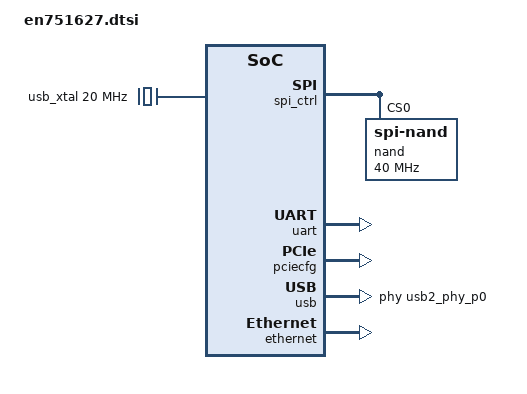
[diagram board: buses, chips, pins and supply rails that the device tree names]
// SPDX-License-Identifier: (GPL-2.0-only OR BSD-2-Clause)
/dts-v1/;

#include <dt-bindings/interrupt-controller/mips-gic.h>
#include <dt-bindings/clock/en7523-clk.h>
#include <dt-bindings/reset/airoha,en7523-reset.h>

/ {
	compatible = "econet,en751627";
	#address-cells = <1>;
	#size-cells = <1>;

	hpt_clock: clock {
		compatible = "fixed-clock";
		#clock-cells = <0>;
		clock-frequency = <200000000>;  /* 200 MHz */
	};

	spi_clock: spi-clock {
		compatible = "fixed-clock";
		#clock-cells = <0>;
		clock-frequency = <40000000>;  /* 40 MHz */
	};

	/*
	 * USB PHY reference crystal. EcoNet devices run at either 20MHz or
	 * 25MHz (per econet,en751221-usb-phy binding); this board's actual
	 * xtal frequency has not been confirmed against real hardware, and
	 * 20MHz is assumed as the more common default. A wrong guess only
	 * affects the USB 3.0 PLL tuning path, not USB 2.0.
	 */
	usb_xtal: usb-xtal-clock {
		compatible = "fixed-clock";
		#clock-cells = <0>;
		clock-frequency = <20000000>;  /* 20 MHz, unconfirmed */
	};

	cpus {
		#address-cells = <1>;
		#size-cells = <0>;

		cpu@0 {
			device_type = "cpu";
			compatible = "mips,mips1004Kc";
			reg = <0>;
		};

		cpu@1 {
			device_type = "cpu";
			compatible = "mips,mips1004Kc";
			reg = <1>;
		};
	};

	cpuintc: interrupt-controller {
		compatible = "mti,cpu-interrupt-controller";
		interrupt-controller;
		#address-cells = <0>;
		#interrupt-cells = <1>;
	};

	gic: interrupt-controller@1f8c0000 {
		compatible = "mti,gic";
		reg = <0x1f8c0000 0x20000>;

		interrupt-controller;
		#interrupt-cells = <3>;

		interrupt-parent = <&cpuintc>;
		interrupts = <2>;
	};

	pcie_phy0: pcie-phy@1faf2000 {
		compatible = "econet,en7528-pcie-gen2";
		reg = <0x1faf2000 0x1000>;
		#phy-cells = <0>;
	};

	pcie_phy1: pcie-phy@1fac0000 {
		compatible = "econet,en7528-pcie-gen2";
		reg = <0x1fac0000 0x1000>;
		#phy-cells = <0>;
	};

	gpio0: gpio@1fbf0200 {
		compatible = "airoha,en7523-gpio";
		reg = <0x1fbf0204 0x4>,
		      <0x1fbf0200 0x4>,
		      <0x1fbf0220 0x4>,
		      <0x1fbf0214 0x4>;
		gpio-controller;
		#gpio-cells = <2>;
	};

	gpio1: gpio@1fbf0270 {
		compatible = "airoha,en7523-gpio";
		reg = <0x1fbf0270 0x4>,
		      <0x1fbf0260 0x4>,
		      <0x1fbf0264 0x4>,
		      <0x1fbf0278 0x4>;
		gpio-controller;
		#gpio-cells = <2>;
	};

	scu: system-controller@1fb00000 {
		compatible = "airoha,en7523-scu";
		reg = <0x1fa20000 0x400>,
		      <0x1fb00000 0x1000>;
		#clock-cells = <1>;
		#reset-cells = <1>;
	};

	timer_hpt: timer@1fbf0400 {
		compatible = "econet,en7528-timer";
		reg = <0x1fbf0400 0x14>,
		      <0x1fbe0000 0x14>;

		interrupt-parent = <&gic>;
		interrupts = <GIC_SHARED 30 IRQ_TYPE_LEVEL_HIGH>,
			     <GIC_SHARED 29 IRQ_TYPE_LEVEL_HIGH>,
			     <GIC_SHARED 37 IRQ_TYPE_LEVEL_HIGH>,
			     <GIC_SHARED 36 IRQ_TYPE_LEVEL_HIGH>;

		clocks = <&hpt_clock>;
	};

	spi_ctrl: spi@1fa10000 {
		compatible = "airoha,en7581-snand";
		reg = <0x1fa10000 0x140>,
		      <0x1fa11000 0x160>;

		clocks = <&spi_clock>;
		clock-names = "spi";

		#address-cells = <1>;
		#size-cells = <0>;

		nand: nand@0 {
			compatible = "spi-nand";
			reg = <0>;
			spi-max-frequency = <40000000>;
			spi-tx-bus-width = <1>;
			spi-rx-bus-width = <2>;
		};
	};

	uart: serial@1fbf0000 {
		compatible = "airoha,en7523-uart";
		reg = <0x1fbf0000 0x30>;
		reg-io-width = <4>;
		reg-shift = <2>;

		interrupt-parent = <&gic>;
		interrupts = <GIC_SHARED 2 IRQ_TYPE_LEVEL_HIGH>;

		clock-frequency = <7372800>;
	};

	pciecfg: pciecfg@1fb80000 {
		compatible = "mediatek,generic-pciecfg", "syscon";
		reg = <0x1fb80000 0x1000>;
	};

	pcie0: pcie@1fb81000 {
		compatible = "econet,en7528-pcie";
		device_type = "pci";
		reg = <0x1fb81000 0x1000>;
		reg-names = "port0";
		linux,pci-domain = <0>;
		#address-cells = <3>;
		#size-cells = <2>;
		interrupt-parent = <&gic>;
		interrupts = <GIC_SHARED 23 IRQ_TYPE_LEVEL_HIGH>;
		interrupt-names = "pcie_irq";
		clocks = <&scu EN7523_CLK_PCIE>;
		clock-names = "sys_ck0";
		phys = <&pcie_phy0>;
		phy-names = "pcie-phy0";
		bus-range = <0x00 0xff>;
		ranges = <0x01000000 0 0x00000000 0x1f600000 0 0x00010000>,
			 <0x82000000 0 0x20000000 0x20000000 0 0x08000000>;
		status = "disabled";

		#interrupt-cells = <1>;
		interrupt-map-mask = <0 0 0 7>;
		interrupt-map = <0 0 0 1 &pcie_intc0 0>,
				<0 0 0 2 &pcie_intc0 1>,
				<0 0 0 3 &pcie_intc0 2>,
				<0 0 0 4 &pcie_intc0 3>;

		pcie_intc0: interrupt-controller {
			interrupt-controller;
			#address-cells = <0>;
			#interrupt-cells = <1>;
		};

		slot0: pcie@0,0 {
			reg = <0x0000 0 0 0 0>;
			#address-cells = <3>;
			#size-cells = <2>;
			ranges;
		};
	};

	pcie1: pcie@1fb83000 {
		compatible = "econet,en7528-pcie";
		device_type = "pci";
		reg = <0x1fb83000 0x1000>;
		reg-names = "port1";
		linux,pci-domain = <1>;
		#address-cells = <3>;
		#size-cells = <2>;
		interrupt-parent = <&gic>;
		interrupts = <GIC_SHARED 24 IRQ_TYPE_LEVEL_HIGH>;
		interrupt-names = "pcie_irq";
		clocks = <&scu EN7523_CLK_PCIE>;
		clock-names = "sys_ck1";
		phys = <&pcie_phy1>;
		phy-names = "pcie-phy1";
		bus-range = <0x00 0xff>;
		ranges = <0x01000000 0 0x00000000 0x1f610000 0 0x00010000>,
			 <0x82000000 0 0x28000000 0x28000000 0 0x08000000>;
		status = "disabled";

		#interrupt-cells = <1>;
		interrupt-map-mask = <0 0 0 7>;
		interrupt-map = <0 0 0 1 &pcie_intc1 0>,
				<0 0 0 2 &pcie_intc1 1>,
				<0 0 0 3 &pcie_intc1 2>,
				<0 0 0 4 &pcie_intc1 3>;

		pcie_intc1: interrupt-controller {
			interrupt-controller;
			#address-cells = <0>;
			#interrupt-cells = <1>;
		};

		slot1: pcie@1,0 {
			reg = <0x0800 0 0 0 0>;
			#address-cells = <3>;
			#size-cells = <2>;
			ranges;
		};
	};

	/*
	 * USB PHY (SIFSLV SPLLC/FMREG @0x1fa80000, single-port QFP wiring:
	 * U2PHY_COM @0x1fa80800, U3PHYD/A @0x1fa80900). Based on upstream
	 * "phy: econet: Add EcoNet USB PHY" (Caleb James DeLisle,
	 * cjd@cjdns.fr, msgid 20260518141343.401555-3-cjd@cjdns.fr),
	 * not yet merged upstream at the time this was written.
	 */
	usb_phy: usb-phy@1fa80000 {
		compatible = "econet,en751627-usb-phy";
		reg = <0x1fa80000 0x700>;
		#address-cells = <1>;
		#size-cells = <1>;
		ranges;
		clocks = <&usb_xtal>;
		clock-names = "xtal";

		usb2_phy_p0: usb-phy@1fa80800 {
			compatible = "econet,usb2-phy";
			reg = <0x1fa80800 0x100>;
			resets = <&scu EN7523_USB_HOST_P0_RST>;
			econet,usb-port-id = <0>;
			#phy-cells = <0>;
		};

		usb3_phy_p0: usb-phy@1fa80900 {
			compatible = "econet,usb3-phy";
			reg = <0x1fa80900 0x700>;
			resets = <&scu EN7523_USB_HOST_P0_RST>;
			econet,usb-port-id = <0>;
			#phy-cells = <0>;
		};
	};

	usb: usb@1fb90000 {
		compatible = "mediatek,mt8173-xhci", "mediatek,mtk-xhci";
		reg = <0x1fb90000 0x4000>,
			<0x1fa80700 0x100>;
		reg-names = "mac", "ippc";

		#address-cells = <1>;
		#size-cells = <0>;

		interrupt-parent = <&gic>;
		interrupts = <GIC_SHARED 17 IRQ_TYPE_LEVEL_HIGH>;
		phys = <&usb2_phy_p0>, <&usb3_phy_p0>;
		usb3-lpm-capable;
		/*
		 * The SuperSpeed (U3) MAC reset-inactive status bit never
		 * comes up on this board (STS1_U3_MAC_RST stuck low while
		 * every USB 2.0 clock bit is stable), consistent with only
		 * a USB 2.0 port being physically wired. Mask off U3 port 0
		 * so xhci-mtk's clock-stable poll doesn't wait on it.
		 */
		mediatek,u3p-dis-msk = <0x1>;
	};

	/*
	 * FE/GDM/QDMA block (econet-eth out-of-tree driver, cjdelisle/econet_eth,
	 * package/kernel/econet-eth patches/001-add-en751627-support.patch).
	 * reg is sized 0x8000 (en7528-style): the driver derives has_switch_regs
	 * from resource_size(reg) >= sizeof(struct en751221_regs) (0x10000), so
	 * this automatically skips its own PMCR/MFC switch pokes -- the switch
	 * register space now belongs to the separate DSA `switch` node below.
	 *
	 * gmac0 feeds the on-die MT7530-class switch's CPU port (port 6, see
	 * `switch` node) over an internal MAC-to-MAC link. gmac1 is the discrete
	 * ETHWAN MAC, talking to a standalone external PHY outside the switch.
	 */
	ethernet: ethernet@1fb50000 {
		compatible = "econet,en751627-eth";
		reg = <0x1fb50000 0x8000>;

		#address-cells = <1>;
		#size-cells = <0>;

		interrupt-parent = <&gic>;
		interrupts = <GIC_SHARED 21 IRQ_TYPE_LEVEL_HIGH>,
			     <GIC_SHARED 22 IRQ_TYPE_LEVEL_HIGH>;

		resets = <&scu EN7523_FE_RST>,
			 <&scu EN7523_FE_PDMA_RST>,
			 <&scu EN7523_FE_QDMA_RST>;
		reset-names = "fe", "qdma0", "qdma1";

		gmac0: mac@0 {
			compatible = "econet,eth-mac";
			reg = <0>;
			phy-mode = "internal";
			status = "disabled";

			fixed-link {
				speed = <1000>;
				full-duplex;
				pause;
			};
		};

		gmac1: mac@1 {
			compatible = "econet,eth-mac";
			reg = <1>;
			phy-mode = "rgmii-rxid";
			status = "disabled";
		};
	};

	/*
	 * On-die MT7530-class DSA switch. Confirmed live on a VMG8825-T50:
	 * the CREV register (switch base + 0x7ffc) reads 0x75300000 -- top
	 * 16 bits 0x7530, same core and same base address as en7528.dtsi's
	 * `switch` node. See target/linux/econet/patches-6.18/782-net-dsa-
	 * mt7530-add-en751627-support.patch for the driver-side ID.
	 *
	 * Replaces the old econet-eth-driven PHY_IAC bit-bang bring-up
	 * (package/kernel/econet-eth patches/002-mt7530-embedded-phy-init.patch)
	 * with the same in-tree DSA driver every other MT7530-class board
	 * (including EN7528, next door) uses -- real phylink-managed PHYs
	 * instead of a hardware-forced CPU port link.
	 */
	switch: ethernet-switch@1fb58000 {
		compatible = "econet,en751627-switch";
		reg = <0x1fb58000 0x8000>;
		resets = <&scu EN7523_GSW_RST>;

		status = "disabled";

		#address-cells = <1>;
		#size-cells = <0>;

		ethernet-ports {
			#address-cells = <1>;
			#size-cells = <0>;

			gsw_port1: ethernet-port@1 {
				reg = <1>;
				phy-mode = "internal";
				phy-handle = <&gsw_phy1>;
				status = "disabled";
			};

			gsw_port2: ethernet-port@2 {
				reg = <2>;
				phy-mode = "internal";
				phy-handle = <&gsw_phy2>;
				status = "disabled";
			};

			gsw_port3: ethernet-port@3 {
				reg = <3>;
				phy-mode = "internal";
				phy-handle = <&gsw_phy3>;
				status = "disabled";
			};

			gsw_port4: ethernet-port@4 {
				reg = <4>;
				phy-mode = "internal";
				phy-handle = <&gsw_phy4>;
				status = "disabled";
			};

			ethernet-port@6 {
				reg = <6>;
				ethernet = <&gmac0>;
				phy-mode = "internal";

				fixed-link {
					speed = <1000>;
					full-duplex;
					pause;
				};
			};
		};

		mdio {
			#address-cells = <1>;
			#size-cells = <0>;

			gsw_phy1: ethernet-phy@9 {
				compatible = "ethernet-phy-ieee802.3-c22";
				reg = <9>;
			};

			gsw_phy2: ethernet-phy@a {
				compatible = "ethernet-phy-ieee802.3-c22";
				reg = <10>;
			};

			gsw_phy3: ethernet-phy@b {
				compatible = "ethernet-phy-ieee802.3-c22";
				reg = <11>;
			};

			gsw_phy4: ethernet-phy@c {
				compatible = "ethernet-phy-ieee802.3-c22";
				reg = <12>;
			};
		};
	};
};
